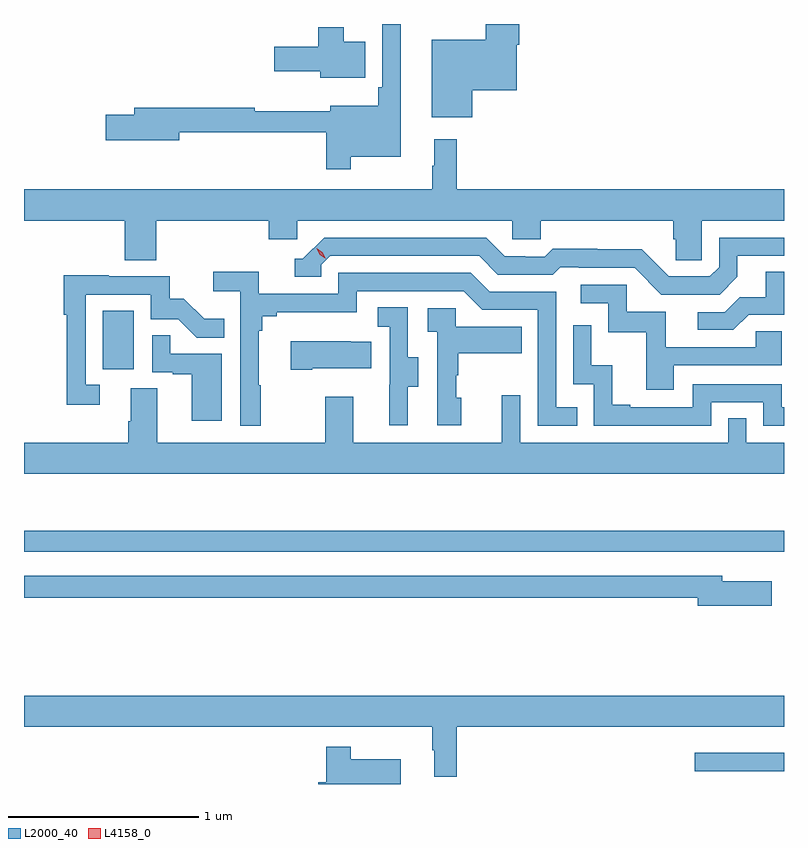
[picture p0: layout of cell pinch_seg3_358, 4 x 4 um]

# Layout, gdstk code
import gdstk
lib = gdstk.Library(unit=1e-6, precision=1e-09)
def R(c, l, rs):  # rectangles x0, y0, x1, y1
    for r in rs: c.add(gdstk.rectangle(r[:2], r[2:], *l))
def P(c, l, *ps):  # polygons
    for p in ps: c.add(gdstk.Polygon(p, *l))
L2000_40 = (2000, 40)
L4158_0 = (4158, 0)

pinch_seg3_358 = lib.new_cell('pinch_seg3_358')
R(pinch_seg3_358, L2000_40, [(1011.813,703.347,1012.284,703.444), (1008.698,705.462,1008.862,705.769)])
P(pinch_seg3_358, L2000_40, [(1010.644,706.931),(1010.878,706.931),(1010.878,707.171),(1010.891,707.171),(1010.891,707.279),(1010.713,707.279),(1010.713,707.197),(1010.429,707.197),(1010.429,706.787),(1010.644,706.787)],
  [(1010.005,706.58),(1010.266,706.58),(1010.266,707.279),(1010.169,707.279),(1010.169,706.945),(1010.149,706.945),(1010.149,706.849),(1009.895,706.849),(1009.895,706.82),(1009.499,706.82),(1009.499,706.838),(1008.863,706.838),(1008.863,706.802),(1008.714,706.802),(1008.714,706.667),(1009.102,706.667),(1009.102,706.71),(1009.876,706.71),(1009.876,706.515),(1010.005,706.515)],
  [(1010.08,707.185),(1009.966,707.185),(1009.966,707.263),(1009.832,707.263),(1009.832,707.16),(1009.602,707.16),(1009.602,707.03),(1009.844,707.03),(1009.844,706.997),(1010.08,706.997)],
  [(1008.98,706.244),(1009.571,706.244),(1009.571,706.146),(1009.722,706.146),(1009.722,706.244),(1010.853,706.244),(1010.853,706.146),(1011.003,706.146),(1011.003,706.244),(1011.701,706.244),(1011.701,706.146),(1011.715,706.146),(1011.715,706.036),(1011.852,706.036),(1011.852,706.244),(1012.284,706.244),(1012.284,706.408),(1010.561,706.408),(1010.561,706.672),(1010.444,706.672),(1010.444,706.532),(1010.433,706.532),(1010.433,706.408),(1008.284,706.408),(1008.284,706.244),(1008.815,706.244),(1008.815,706.036),(1008.98,706.036)],
  [(1012.039,705.949),(1012.039,706.059),(1012.284,706.059),(1012.284,706.155),(1011.942,706.155),(1011.942,705.999),(1011.894,705.951),(1011.678,705.951),(1011.536,706.093),(1011.3,706.093),(1011.3,706.096),(1011.067,706.096),(1011.025,706.053),(1010.922,706.053),(1010.922,706.056),(1010.815,706.056),(1010.716,706.155),(1009.863,706.155),(1009.752,706.044),(1009.709,706.044),(1009.709,705.948),(1009.848,705.948),(1009.848,706.011),(1009.896,706.059),(1010.679,706.059),(1010.778,705.96),(1011.067,705.96),(1011.106,705.999),(1011.205,705.999),(1011.205,705.996),(1011.498,705.996),(1011.639,705.855),(1011.945,705.855)],
  [(1009.531,705.377),(1009.519,705.377),(1009.519,705.665),(1009.538,705.665),(1009.538,705.742),(1009.615,705.742),(1009.615,705.761),(1010.034,705.761),(1010.034,705.873),(1010.598,705.873),(1010.697,705.774),(1010.988,705.774),(1010.988,705.165),(1011.197,705.165),(1011.197,705.261),(1011.084,705.261),(1011.084,705.87),(1010.734,705.87),(1010.635,705.969),(1009.938,705.969),(1009.938,705.858),(1009.52,705.858),(1009.52,705.974),(1009.281,705.974),(1009.281,705.872),(1009.422,705.872),(1009.422,705.165),(1009.531,705.165)],
  [(1012.099,705.75),(1012.284,705.75),(1012.284,705.974),(1012.187,705.974),(1012.187,705.842),(1012.052,705.842),(1011.972,705.762),(1011.831,705.762),(1011.831,705.669),(1012.018,705.669)],
  [(1008.682,705.381),(1008.609,705.381),(1008.609,705.855),(1008.951,705.855),(1008.951,705.726),(1009.095,705.726),(1009.193,705.628),(1009.337,705.628),(1009.337,705.727),(1009.233,705.727),(1009.126,705.834),(1009.05,705.834),(1009.05,705.951),(1008.731,705.951),(1008.731,705.956),(1008.493,705.956),(1008.493,705.748),(1008.508,705.748),(1008.508,705.276),(1008.682,705.276)],
  [(1011.703,705.483),(1012.272,705.483),(1012.272,705.663),(1012.135,705.663),(1012.135,705.579),(1011.661,705.579),(1011.661,705.765),(1011.456,705.765),(1011.456,705.906),(1011.213,705.906),(1011.213,705.81),(1011.36,705.81),(1011.36,705.657),(1011.559,705.657),(1011.559,705.354),(1011.703,705.354)],
  [(1010.305,705.37),(1010.359,705.37),(1010.359,705.525),(1010.304,705.525),(1010.304,705.788),(1010.145,705.788),(1010.145,705.685),(1010.208,705.685),(1010.208,705.381),(1010.207,705.381),(1010.207,705.168),(1010.305,705.168)],
  [(1010.584,705.312),(1010.559,705.312),(1010.559,705.431),(1010.569,705.431),(1010.569,705.545),(1010.903,705.545),(1010.903,705.685),(1010.556,705.685),(1010.556,705.783),(1010.409,705.783),(1010.409,705.659),(1010.46,705.659),(1010.46,705.168),(1010.584,705.168)],
  [(1011.9,705.288),(1012.176,705.288),(1012.176,705.165),(1012.284,705.165),(1012.284,705.261),(1012.272,705.261),(1012.272,705.384),(1011.804,705.384),(1011.804,705.261),(1011.475,705.261),(1011.475,705.274),(1011.38,705.274),(1011.38,705.482),(1011.27,705.482),(1011.27,705.694),(1011.174,705.694),(1011.174,705.384),(1011.282,705.384),(1011.282,705.165),(1011.9,705.165)],
  [(1009.324,705.543),(1009.055,705.543),(1009.055,705.641),(1008.96,705.641),(1008.96,705.447),(1009.067,705.447),(1009.067,705.435),(1009.166,705.435),(1009.166,705.192),(1009.324,705.192)],
  [(1009.801,705.467),(1010.111,705.467),(1010.111,705.607),(1010.003,705.607),(1010.003,705.61),(1009.689,705.61),(1009.689,705.46),(1009.801,705.46)],
  [(1012.284,705.076),(1012.086,705.076),(1012.086,705.203),(1011.99,705.203),(1011.99,705.076),(1010.895,705.076),(1010.895,705.325),(1010.798,705.325),(1010.798,705.076),(1010.017,705.076),(1010.017,705.316),(1009.87,705.316),(1009.87,705.076),(1008.985,705.076),(1008.985,705.362),(1008.845,705.362),(1008.845,705.188),(1008.833,705.188),(1008.833,705.076),(1008.284,705.076),(1008.284,704.912),(1012.284,704.912)],
  [(1012.284,704.611),(1008.284,704.611),(1008.284,704.502),(1012.054,704.502),(1012.054,704.501),(1012.284,704.501)],
  [(1012.219,704.347),(1011.958,704.347),(1011.958,704.376),(1008.284,704.376),(1008.284,704.26),(1011.83,704.26),(1011.83,704.218),(1012.219,704.218)],
  [(1010.561,703.58),(1012.284,703.58),(1012.284,703.744),(1008.284,703.744),(1008.284,703.58),(1010.433,703.58),(1010.433,703.457),(1010.444,703.457),(1010.444,703.317),(1010.561,703.317)],
  [(1010.266,703.408),(1010.005,703.408),(1010.005,703.474),(1009.876,703.474),(1009.876,703.287),(1009.832,703.287),(1009.832,703.279),(1010.266,703.279)])
P(pinch_seg3_358, L4158_0, [(1009.871,706.044),(1009.84,706.064),(1009.825,706.097),(1009.825,706.098),(1009.825,706.098),(1009.855,706.077),(1009.871,706.044),(1009.871,706.044)])

lib.write_gds('pinch_seg3_358.gds')
